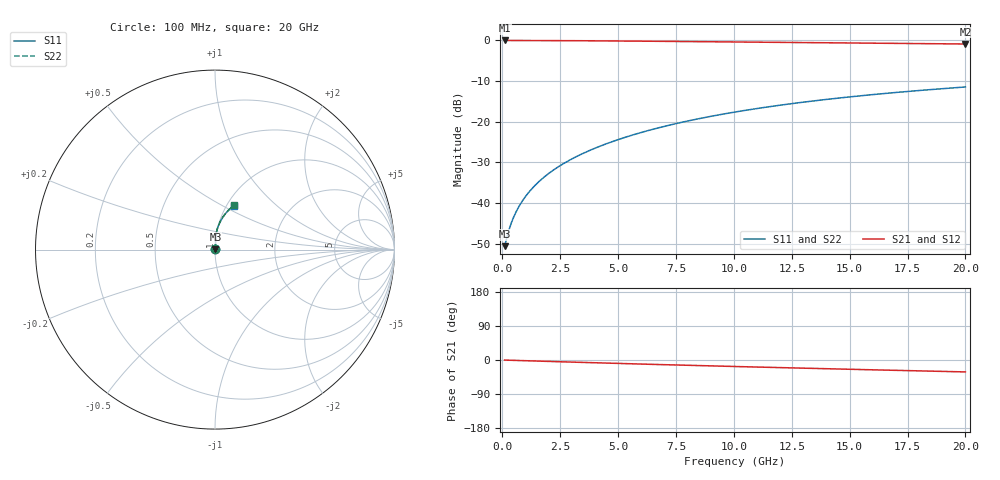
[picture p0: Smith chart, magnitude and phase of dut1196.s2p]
! Touchstone file exported from HFSS 2024.1.0
!  File:  C:/UserFiles/LocalFiles/RDL_TSV_Batchsim/temp_RDL_bottom_1196_1780057834.aedt
!  Generated:  08:32:50 PM May 29, 2026
!  Design:  RDL_bottom
!  Project:  temp_RDL_bottom_1196_1780057834
!  Setup:  Setup1
!  Solution:  Sweep
! Variables:
!  dtsv = 10.80580581um
!  hbump = 3um
!  htsv = 61.8um
!  ldown = 469.96um
!  lrdl = 100um
!  p = 40
!  p1 = 42.51um
!  rhole = 1um
!  t = 450um
!  tdown = 2.98um
!  trdl = 3.915915916um
!  wdown = 23.47um
!  wrdl = 20um
# GHz S MA R 50.000000
! Terminal data exported
! Port[1] = RDL1_T1
! Port[2] = RDL1_T2
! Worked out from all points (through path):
!   200 points, 100 MHz to 20 GHz, reference 50 ohm
!   highest |S21| = -0.02 dB at 100 MHz (marker M1); lowest = -0.9 dB at 20 GHz (marker M2)
!   group delay of S21, straight-line fit = 4.33 ps
!   lowest |S11| = -50.6 dB at 100 MHz (marker M3), VSWR 1.01, Z = 50.3 + j0.134 ohm
!   |S11| at or under -10 dB: start of sweep to end of sweep
!   |S22| runs from -50.6 to -11.5 dB; largest |S21 - S12| = 3.4e-15
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0.1  0.002957 26.8  0.9974 -0.2  0.9974 -0.2  0.002957 26.8
! Gamma 0 0 0 0
! Port Impedance 50 0 50 0
0.3  0.004793 52.7  0.997 -0.6  0.997 -0.6  0.004793 52.7
0.4  0.005813 58.6  0.9968 -0.8  0.9968 -0.8  0.005813 58.6
0.5  0.006834 62.8  0.9967 -1.0  0.9967 -1.0  0.006834 62.8
0.6  0.007857 66.0  0.9965 -1.1  0.9965 -1.1  0.007857 66.0
0.8  0.009925 70.7  0.9962 -1.5  0.9962 -1.5  0.009925 70.7
1  0.01203 74.0  0.9959 -1.9  0.9959 -1.9  0.01203 74.0
1.2  0.01418 76.5  0.9956 -2.3  0.9956 -2.3  0.01418 76.5
1.7  0.0197 80.5  0.9946 -3.2  0.9946 -3.2  0.0197 80.6
2.2  0.02539 83.0  0.9934 -4.1  0.9934 -4.1  0.02539 83.0
2.8  0.03245 84.7  0.9916 -5.2  0.9916 -5.2  0.03245 84.8
3.5  0.04097 86.0  0.9891 -6.4  0.9891 -6.4  0.04098 86.0
4.2  0.04981 86.6  0.9862 -7.7  0.9862 -7.7  0.04982 86.6
5  0.06026 86.8  0.9826 -9.0  0.9826 -9.0  0.06028 86.8
5.9  0.07243 86.6  0.9781 -10.6  0.9781 -10.6  0.07245 86.6
6.8  0.08494 86.0  0.9735 -12.1  0.9735 -12.1  0.08497 86.0
8.4  0.1077 84.4  0.9648 -14.6  0.9648 -14.6  0.1078 84.4
10.1  0.1323 82.1  0.9555 -17.3  0.9555 -17.3  0.1324 82.1
11.7  0.1555 79.7  0.9467 -19.7  0.9467 -19.7  0.1555 79.8
13.4  0.1797 77.1  0.9375 -22.2  0.9375 -22.2  0.1798 77.1
16.7  0.2249 71.9  0.9198 -26.9  0.9198 -26.9  0.2251 71.9
20  0.2673 66.8  0.9022 -31.5  0.9022 -31.5  0.2675 66.8
